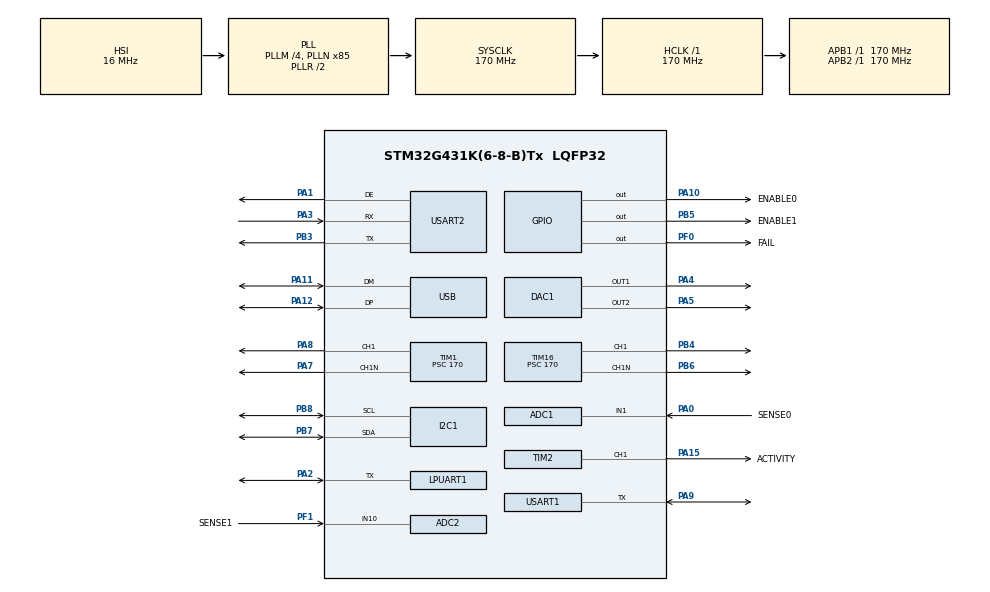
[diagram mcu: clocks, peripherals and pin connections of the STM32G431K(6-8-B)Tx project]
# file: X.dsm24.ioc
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ADC1.Channel-5\#ChannelRegularConversion=ADC_CHANNEL_1
ADC1.NbrOfConversionFlag=1
ADC1.OffsetNumber-5\#ChannelRegularConversion=ADC_OFFSET_NONE
ADC1.Rank-5\#ChannelRegularConversion=1
ADC1.SamplingTime-5\#ChannelRegularConversion=ADC_SAMPLETIME_2CYCLES_5
ADC1.master=1
ADC2.Channel-0\#ChannelRegularConversion=ADC_CHANNEL_10
ADC2.NbrOfConversionFlag=1
ADC2.OffsetNumber-0\#ChannelRegularConversion=ADC_OFFSET_NONE
ADC2.Rank-0\#ChannelRegularConversion=1
ADC2.SamplingTime-0\#ChannelRegularConversion=ADC_SAMPLETIME_2CYCLES_5
DAC1.DAC_Channel-DAC_OUT2=DAC_CHANNEL_2
Dma.Request0=TIM1_CH1
Dma.Request1=TIM16_CH1
Dma.TIM16_CH1.1.Direction=DMA_PERIPH_TO_MEMORY
Dma.TIM16_CH1.1.EventEnable=ENABLE
Dma.TIM16_CH1.1.Instance=DMA1_Channel2
Dma.TIM16_CH1.1.MemDataAlignment=DMA_MDATAALIGN_HALFWORD
Dma.TIM16_CH1.1.MemInc=DMA_MINC_ENABLE
Dma.TIM16_CH1.1.Mode=DMA_NORMAL
Dma.TIM16_CH1.1.PeriphDataAlignment=DMA_PDATAALIGN_HALFWORD
Dma.TIM16_CH1.1.PeriphInc=DMA_PINC_DISABLE
Dma.TIM16_CH1.1.Polarity=HAL_DMAMUX_REQ_GEN_RISING
Dma.TIM16_CH1.1.Priority=DMA_PRIORITY_LOW
Dma.TIM16_CH1.1.RequestNumber=1
Dma.TIM16_CH1.1.SignalID=NONE
Dma.TIM16_CH1.1.SyncEnable=DISABLE
Dma.TIM16_CH1.1.SyncPolarity=HAL_DMAMUX_SYNC_NO_EVENT
Dma.TIM16_CH1.1.SyncRequestNumber=1
Dma.TIM16_CH1.1.SyncSignalID=NONE
Dma.TIM1_CH1.0.Direction=DMA_MEMORY_TO_PERIPH
Dma.TIM1_CH1.0.EventEnable=ENABLE
Dma.TIM1_CH1.0.Instance=DMA1_Channel1
Dma.TIM1_CH1.0.MemDataAlignment=DMA_MDATAALIGN_HALFWORD
Dma.TIM1_CH1.0.MemInc=DMA_MINC_ENABLE
Dma.TIM1_CH1.0.Mode=DMA_NORMAL
Dma.TIM1_CH1.0.PeriphDataAlignment=DMA_PDATAALIGN_HALFWORD
Dma.TIM1_CH1.0.PeriphInc=DMA_PINC_DISABLE
Dma.TIM1_CH1.0.Polarity=HAL_DMAMUX_REQ_GEN_RISING
Dma.TIM1_CH1.0.Priority=DMA_PRIORITY_LOW
Dma.TIM1_CH1.0.RequestNumber=1
Dma.TIM1_CH1.0.SignalID=NONE
Dma.TIM1_CH1.0.SyncEnable=DISABLE
Dma.TIM1_CH1.0.SyncPolarity=HAL_DMAMUX_SYNC_NO_EVENT
Dma.TIM1_CH1.0.SyncRequestNumber=1
Dma.TIM1_CH1.0.SyncSignalID=NONE
LPUART1.BaudRate=115200
Mcu.Family=STM32G4
Mcu.Name=STM32G431K(6-8-B)Tx
Mcu.Package=LQFP32
NVIC.DMA1_Channel1_IRQn=true\:0\:0\:false\:false\:true\:false\:true
NVIC.DMA1_Channel2_IRQn=true\:0\:0\:false\:false\:true\:false\:true
NVIC.DMAMUX_OVR_IRQn=true\:0\:0\:false\:false\:true\:false\:true
NVIC.PriorityGroup=NVIC_PRIORITYGROUP_4
NVIC.TIM1_TRG_COM_TIM17_IRQn=true\:0\:0\:false\:false\:true\:true\:true
NVIC.TIM6_DAC_IRQn=true\:0\:0\:false\:false\:true\:true\:true
NVIC.TIM7_IRQn=true\:0\:0\:false\:false\:true\:true\:true
NVIC.USART1_IRQn=true\:0\:0\:false\:false\:true\:true\:true
NVIC.USB_LP_IRQn=true\:0\:0\:false\:false\:true\:false\:true
PA0.GPIO_Label=SENSE0
PA0.Mode=IN1-Single-Ended
PA0.Signal=ADC1_IN1
PA1.Mode=Hardware Flow Control (RS485)
PA1.Signal=USART2_DE
PA10.GPIO_Label=ENABLE0
PA10.Signal=GPIO_Output
PA11.Mode=Device
PA11.Signal=USB_DM
PA12.Mode=Device
PA12.Signal=USB_DP
PA13.Mode=Serial_Wire
PA13.Signal=SYS_JTMS-SWDIO
PA14.Mode=Serial_Wire
PA14.Signal=SYS_JTCK-SWCLK
PA15.GPIO_Label=ACTIVITY
PA15.Signal=S_TIM2_CH1
PA2.Mode=Half_duplex(single_wire_mode)
PA2.Signal=LPUART1_TX
PA3.Mode=Asynchronous
PA3.Signal=USART2_RX
PA4.Signal=COMP_DAC11_group
PA5.Signal=COMP_DAC12_group
PA7.Mode=PWM Generation1 CH1 CH1N
PA7.Signal=TIM1_CH1N
PA8.Signal=S_TIM1_CH1
PA9.Mode=Half_duplex(single_wire_mode)
PA9.Signal=USART1_TX
PB3.Mode=Asynchronous
PB3.Signal=USART2_TX
PB4.Signal=S_TIM16_CH1
PB5.GPIO_Label=ENABLE1
PB5.Signal=GPIO_Output
PB6.Mode=PWM Generation1 CH1 CH1N
PB6.Signal=TIM16_CH1N
PB7.Mode=I2C
PB7.Signal=I2C1_SDA
PB8-BOOT0.Mode=I2C
PB8-BOOT0.Signal=I2C1_SCL
PF0-OSC_IN.GPIO_Label=FAIL
PF0-OSC_IN.Signal=GPIO_Output
PF1-OSC_OUT.GPIO_Label=SENSE1
PF1-OSC_OUT.Mode=IN10-Single-Ended
PF1-OSC_OUT.Signal=ADC2_IN10
ProjectManager.HeapSize=0x200
ProjectManager.StackSize=0x400
ProjectManager.TargetToolchain=STM32CubeIDE
RCC.ADC12Freq_Value=170000000
RCC.AHBFreq_Value=170000000
RCC.APB1Freq_Value=170000000
RCC.APB1TimFreq_Value=170000000
RCC.APB2Freq_Value=170000000
RCC.APB2TimFreq_Value=170000000
RCC.CK48CLockSelection=RCC_USBCLKSOURCE_HSI48
RCC.CortexFreq_Value=170000000
RCC.EXTERNAL_CLOCK_VALUE=12288000
RCC.HCLKFreq_Value=170000000
RCC.HSE_VALUE=8000000
RCC.HSI48_VALUE=48000000
RCC.HSI_VALUE=16000000
RCC.I2C1CLockSelection=RCC_I2C1CLKSOURCE_HSI
RCC.LPUART1CLockSelection=RCC_LPUART1CLKSOURCE_HSI
RCC.LSE_VALUE=32768
RCC.PLLM=RCC_PLLM_DIV4
RCC.PLLN=85
RCC.SYSCLKFreq_VALUE=170000000
RCC.SYSCLKSource=RCC_SYSCLKSOURCE_PLLCLK
RCC.USART1CLockSelection=RCC_USART1CLKSOURCE_HSI
RCC.USART2CLockSelection=RCC_USART2CLKSOURCE_HSI
RCC.USBFreq_Value=48000000
RCC.VCOOutputFreq_Value=340000000
SH.COMP_DAC11_group.0=DAC1_OUT1,DAC_OUT1
SH.COMP_DAC12_group.0=DAC1_OUT2,DAC_OUT2
SH.S_TIM16_CH1.0=TIM16_CH1,PWM Generation1 CH1 CH1N
SH.S_TIM1_CH1.0=TIM1_CH1,PWM Generation1 CH1 CH1N
SH.S_TIM2_CH1.0=TIM2_CH1,PWM Generation1 CH1
TIM1.Channel-PWM\ Generation1\ CH1\ CH1N=TIM_CHANNEL_1
TIM1.PeriodNoDither=112
TIM1.Prescaler=170
TIM1.PulseNoDither_1=56
TIM16.Channel=TIM_CHANNEL_1
TIM16.PeriodNoDither=112
TIM16.Prescaler=170
TIM16.PulseNoDither_1=54
TIM17.PeriodNoDither=10000
TIM17.Prescaler=170
TIM2.Channel-PWM\ Generation1\ CH1=TIM_CHANNEL_1
TIM2.PeriodNoDither=1024
TIM2.Prescaler=170
TIM2.PulseNoDither_1=512
TIM6.PeriodNoDither=487
TIM6.Prescaler=170
TIM7.PeriodNoDither=487
TIM7.Prescaler=170
USART1.BaudRate=250000
USART1.VirtualMode-Half_duplex(single_wire_mode)=VM_ASYNC
USART2.VirtualMode-Asynchronous=VM_ASYNC
USART2.VirtualMode-Hardware\ Flow\ Control\ (RS485)=VM_ASYNC
USB_DEVICE.CLASS_NAME_FS=CDC
USB_DEVICE.VirtualMode=Cdc
USB_DEVICE.VirtualModeFS=Cdc_FS
VP_SYS_VS_DBSignals.Mode=DisableDeadBatterySignals
VP_TIM16_VS_ClockSourceINT.Mode=Enable_Timer
VP_TIM17_VS_ClockSourceINT.Mode=Enable_Timer
VP_TIM6_VS_ClockSourceINT.Mode=Enable_Timer
VP_TIM6_VS_OPM.Mode=OPM_bit
VP_TIM7_VS_ClockSourceINT.Mode=Enable_Timer
VP_TIM7_VS_OPM.Mode=OPM_bit
VP_USB_DEVICE_VS_USB_DEVICE_CDC_FS.Mode=CDC_FS
board=custom

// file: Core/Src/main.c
/* USER CODE BEGIN Header */
/**
  ******************************************************************************
  * @file           : main.c
  * @brief          : Main program body
  ******************************************************************************
  * @attention
  *
  * <h2><center>&copy; Copyright (c) 2020 STMicroelectronics.
  * All rights reserved.</center></h2>
  *
  * This software component is licensed by ST under BSD 3-Clause license,
  * the "License"; You may not use this file except in compliance with the
  * License. You may obtain a copy of the License at:
  *                        opensource.org/licenses/BSD-3-Clause
  *
  ******************************************************************************
  */
/* USER CODE END Header */
#include "main.h"
#include "usb_device.h"

/* USER CODE BEGIN Includes */
#include "DCC.h"

/* USER CODE END Includes */

ADC_HandleTypeDef hadc1;
ADC_HandleTypeDef hadc2;

DAC_HandleTypeDef hdac1;

I2C_HandleTypeDef hi2c1;

UART_HandleTypeDef hlpuart1;
UART_HandleTypeDef huart1;
UART_HandleTypeDef huart2;

TIM_HandleTypeDef htim1;
TIM_HandleTypeDef htim2;
TIM_HandleTypeDef htim6;
TIM_HandleTypeDef htim7;
TIM_HandleTypeDef htim16;
TIM_HandleTypeDef htim17;
DMA_HandleTypeDef hdma_tim1_ch1;
DMA_HandleTypeDef hdma_tim16_ch1;

void SystemClock_Config(void);
static void MX_GPIO_Init(void);
static void MX_DMA_Init(void);
static void MX_ADC1_Init(void);
static void MX_ADC2_Init(void);
static void MX_DAC1_Init(void);
static void MX_I2C1_Init(void);
static void MX_LPUART1_UART_Init(void);
static void MX_USART1_UART_Init(void);
static void MX_USART2_UART_Init(void);
static void MX_TIM1_Init(void);
static void MX_TIM2_Init(void);
static void MX_TIM16_Init(void);
static void MX_TIM7_Init(void);
static void MX_TIM6_Init(void);
static void MX_TIM17_Init(void);

/* USER CODE BEGIN 0 */
uint8_t	adc_channels = 0;

/* USER CODE END 0 */

int main(void)
{

  /* MCU Configuration--------------------------------------------------------*/

  /* Reset of all peripherals, Initializes the Flash interface and the Systick. */
  HAL_Init();

  /* Configure the system clock */
  SystemClock_Config();

  /* Initialize all configured peripherals */
  MX_GPIO_Init();
  MX_DMA_Init();
  MX_ADC1_Init();
  MX_ADC2_Init();
  MX_DAC1_Init();
  MX_I2C1_Init();
  MX_LPUART1_UART_Init();
  MX_USART1_UART_Init();
  MX_USART2_UART_Init();
  MX_TIM1_Init();
  MX_TIM2_Init();
  MX_TIM16_Init();
  MX_TIM7_Init();
  MX_USB_Device_Init();
  MX_TIM6_Init();
  MX_TIM17_Init();
  /* USER CODE BEGIN 2 */
	init_bufs();
	tracks.main_power = 0;
	/* start timers */
	packetEND_main_callback();
	packetEND_aux_callback();

	HAL_DAC_Start(&hdac1, DAC_CHANNEL_1);
	HAL_DAC_Start(&hdac1, DAC_CHANNEL_2);
	HAL_DAC_SetValue(&hdac1, DAC_CHANNEL_1, DAC_ALIGN_12B_R, DAC_BLANKS_RAILCOM);
	HAL_DAC_SetValue(&hdac1, DAC_CHANNEL_2, DAC_ALIGN_12B_R, DAC_BLANKS_RAILCOM);
	HAL_ADC_Start(&hadc1);
	HAL_ADC_Start(&hadc2);

  /* USER CODE END 2 */

  /* Infinite loop */
  /* USER CODE BEGIN WHILE */
	  while (1)
	  {
		  if ( flag10ms == 1 )
		  {
			  flag10ms = 0;
			  get_adc(adc_channels++);
		  }
		  if ( usb_check_rx_buffer() != 0 )
		  {
			  parser();
		  }
		  if ( railcom0_done == 1 )
		  {
			  railcom0_done = 0;
		  }
		  if ( railcom1_done == 1 )
		  {
			  railcom1_done = 0;
		  }
    /* USER CODE END WHILE */

  }
}

void SystemClock_Config(void)
{
  RCC_OscInitTypeDef RCC_OscInitStruct = {0};
  RCC_ClkInitTypeDef RCC_ClkInitStruct = {0};
  RCC_PeriphCLKInitTypeDef PeriphClkInit = {0};

  /** Configure the main internal regulator output voltage
  */
  HAL_PWREx_ControlVoltageScaling(PWR_REGULATOR_VOLTAGE_SCALE1_BOOST);
  /** Initializes the RCC Oscillators according to the specified parameters
  * in the RCC_OscInitTypeDef structure.
  */
  RCC_OscInitStruct.OscillatorType = RCC_OSCILLATORTYPE_HSI|RCC_OSCILLATORTYPE_HSI48;
  RCC_OscInitStruct.HSIState = RCC_HSI_ON;
  RCC_OscInitStruct.HSICalibrationValue = RCC_HSICALIBRATION_DEFAULT;
  RCC_OscInitStruct.HSI48State = RCC_HSI48_ON;
  RCC_OscInitStruct.PLL.PLLState = RCC_PLL_ON;
  RCC_OscInitStruct.PLL.PLLSource = RCC_PLLSOURCE_HSI;
  RCC_OscInitStruct.PLL.PLLM = RCC_PLLM_DIV4;
  RCC_OscInitStruct.PLL.PLLN = 85;
  RCC_OscInitStruct.PLL.PLLP = RCC_PLLP_DIV2;
  RCC_OscInitStruct.PLL.PLLQ = RCC_PLLQ_DIV2;
  RCC_OscInitStruct.PLL.PLLR = RCC_PLLR_DIV2;
  if (HAL_RCC_OscConfig(&RCC_OscInitStruct) != HAL_OK)
  {
    Error_Handler();
  }
  /** Initializes the CPU, AHB and APB buses clocks
  */
  RCC_ClkInitStruct.ClockType = RCC_CLOCKTYPE_HCLK|RCC_CLOCKTYPE_SYSCLK
                              |RCC_CLOCKTYPE_PCLK1|RCC_CLOCKTYPE_PCLK2;
  RCC_ClkInitStruct.SYSCLKSource = RCC_SYSCLKSOURCE_PLLCLK;
  RCC_ClkInitStruct.AHBCLKDivider = RCC_SYSCLK_DIV1;
  RCC_ClkInitStruct.APB1CLKDivider = RCC_HCLK_DIV1;
  RCC_ClkInitStruct.APB2CLKDivider = RCC_HCLK_DIV1;

  if (HAL_RCC_ClockConfig(&RCC_ClkInitStruct, FLASH_LATENCY_4) != HAL_OK)
  {
    Error_Handler();
  }
  /** Initializes the peripherals clocks
  */
  PeriphClkInit.PeriphClockSelection = RCC_PERIPHCLK_USART1|RCC_PERIPHCLK_USART2
                              |RCC_PERIPHCLK_LPUART1|RCC_PERIPHCLK_I2C1
                              |RCC_PERIPHCLK_USB|RCC_PERIPHCLK_ADC12;
  PeriphClkInit.Usart1ClockSelection = RCC_USART1CLKSOURCE_HSI;
  PeriphClkInit.Usart2ClockSelection = RCC_USART2CLKSOURCE_HSI;
  PeriphClkInit.Lpuart1ClockSelection = RCC_LPUART1CLKSOURCE_HSI;
  PeriphClkInit.I2c1ClockSelection = RCC_I2C1CLKSOURCE_HSI;
  PeriphClkInit.UsbClockSelection = RCC_USBCLKSOURCE_HSI48;
  PeriphClkInit.Adc12ClockSelection = RCC_ADC12CLKSOURCE_SYSCLK;
  if (HAL_RCCEx_PeriphCLKConfig(&PeriphClkInit) != HAL_OK)
  {
    Error_Handler();
  }
}

static void MX_ADC1_Init(void)
{

  ADC_MultiModeTypeDef multimode = {0};
  ADC_ChannelConfTypeDef sConfig = {0};

  /** Common config
  */
  hadc1.Instance = ADC1;
  hadc1.Init.ClockPrescaler = ADC_CLOCK_SYNC_PCLK_DIV4;
  hadc1.Init.Resolution = ADC_RESOLUTION_12B;
  hadc1.Init.DataAlign = ADC_DATAALIGN_RIGHT;
  hadc1.Init.GainCompensation = 0;
  hadc1.Init.ScanConvMode = ADC_SCAN_DISABLE;
  hadc1.Init.EOCSelection = ADC_EOC_SINGLE_CONV;
  hadc1.Init.LowPowerAutoWait = DISABLE;
  hadc1.Init.ContinuousConvMode = DISABLE;
  hadc1.Init.NbrOfConversion = 1;
  hadc1.Init.DiscontinuousConvMode = DISABLE;
  hadc1.Init.ExternalTrigConv = ADC_SOFTWARE_START;
  hadc1.Init.ExternalTrigConvEdge = ADC_EXTERNALTRIGCONVEDGE_NONE;
  hadc1.Init.DMAContinuousRequests = DISABLE;
  hadc1.Init.Overrun = ADC_OVR_DATA_PRESERVED;
  hadc1.Init.OversamplingMode = DISABLE;
  if (HAL_ADC_Init(&hadc1) != HAL_OK)
  {
    Error_Handler();
  }
  /** Configure the ADC multi-mode
  */
  multimode.Mode = ADC_MODE_INDEPENDENT;
  if (HAL_ADCEx_MultiModeConfigChannel(&hadc1, &multimode) != HAL_OK)
  {
    Error_Handler();
  }
  /** Configure Regular Channel
  */
  sConfig.Channel = ADC_CHANNEL_1;
  sConfig.Rank = ADC_REGULAR_RANK_1;
  sConfig.SamplingTime = ADC_SAMPLETIME_2CYCLES_5;
  sConfig.SingleDiff = ADC_SINGLE_ENDED;
  sConfig.OffsetNumber = ADC_OFFSET_NONE;
  sConfig.Offset = 0;
  if (HAL_ADC_ConfigChannel(&hadc1, &sConfig) != HAL_OK)
  {
    Error_Handler();
  }

}

static void MX_ADC2_Init(void)
{

  ADC_ChannelConfTypeDef sConfig = {0};

  /** Common config
  */
  hadc2.Instance = ADC2;
  hadc2.Init.ClockPrescaler = ADC_CLOCK_SYNC_PCLK_DIV4;
  hadc2.Init.Resolution = ADC_RESOLUTION_12B;
  hadc2.Init.DataAlign = ADC_DATAALIGN_RIGHT;
  hadc2.Init.GainCompensation = 0;
  hadc2.Init.ScanConvMode = ADC_SCAN_DISABLE;
  hadc2.Init.EOCSelection = ADC_EOC_SINGLE_CONV;
  hadc2.Init.LowPowerAutoWait = DISABLE;
  hadc2.Init.ContinuousConvMode = DISABLE;
  hadc2.Init.NbrOfConversion = 1;
  hadc2.Init.DiscontinuousConvMode = DISABLE;
  hadc2.Init.ExternalTrigConv = ADC_SOFTWARE_START;
  hadc2.Init.ExternalTrigConvEdge = ADC_EXTERNALTRIGCONVEDGE_NONE;
  hadc2.Init.DMAContinuousRequests = DISABLE;
  hadc2.Init.Overrun = ADC_OVR_DATA_PRESERVED;
  hadc2.Init.OversamplingMode = DISABLE;
  if (HAL_ADC_Init(&hadc2) != HAL_OK)
  {
    Error_Handler();
  }
  /** Configure Regular Channel
  */
  sConfig.Channel = ADC_CHANNEL_10;
  sConfig.Rank = ADC_REGULAR_RANK_1;
  sConfig.SamplingTime = ADC_SAMPLETIME_2CYCLES_5;
  sConfig.SingleDiff = ADC_SINGLE_ENDED;
  sConfig.OffsetNumber = ADC_OFFSET_NONE;
  sConfig.Offset = 0;
  if (HAL_ADC_ConfigChannel(&hadc2, &sConfig) != HAL_OK)
  {
    Error_Handler();
  }

}

static void MX_DAC1_Init(void)
{

  DAC_ChannelConfTypeDef sConfig = {0};

  /** DAC Initialization
  */
  hdac1.Instance = DAC1;
  if (HAL_DAC_Init(&hdac1) != HAL_OK)
  {
    Error_Handler();
  }
  /** DAC channel OUT1 config
  */
  sConfig.DAC_HighFrequency = DAC_HIGH_FREQUENCY_INTERFACE_MODE_AUTOMATIC;
  sConfig.DAC_DMADoubleDataMode = DISABLE;
  sConfig.DAC_SignedFormat = DISABLE;
  sConfig.DAC_SampleAndHold = DAC_SAMPLEANDHOLD_DISABLE;
  sConfig.DAC_Trigger = DAC_TRIGGER_NONE;
  sConfig.DAC_Trigger2 = DAC_TRIGGER_NONE;
  sConfig.DAC_OutputBuffer = DAC_OUTPUTBUFFER_ENABLE;
  sConfig.DAC_ConnectOnChipPeripheral = DAC_CHIPCONNECT_EXTERNAL;
  sConfig.DAC_UserTrimming = DAC_TRIMMING_FACTORY;
  if (HAL_DAC_ConfigChannel(&hdac1, &sConfig, DAC_CHANNEL_1) != HAL_OK)
  {
    Error_Handler();
  }
  /** DAC channel OUT2 config
  */
  sConfig.DAC_ConnectOnChipPeripheral = DAC_CHIPCONNECT_EXTERNAL;
  if (HAL_DAC_ConfigChannel(&hdac1, &sConfig, DAC_CHANNEL_2) != HAL_OK)
  {
    Error_Handler();
  }

}

static void MX_I2C1_Init(void)
{

  hi2c1.Instance = I2C1;
  hi2c1.Init.Timing = 0x00303D5B;
  hi2c1.Init.OwnAddress1 = 0;
  hi2c1.Init.AddressingMode = I2C_ADDRESSINGMODE_7BIT;
  hi2c1.Init.DualAddressMode = I2C_DUALADDRESS_DISABLE;
  hi2c1.Init.OwnAddress2 = 0;
  hi2c1.Init.OwnAddress2Masks = I2C_OA2_NOMASK;
  hi2c1.Init.GeneralCallMode = I2C_GENERALCALL_DISABLE;
  hi2c1.Init.NoStretchMode = I2C_NOSTRETCH_DISABLE;
  if (HAL_I2C_Init(&hi2c1) != HAL_OK)
  {
    Error_Handler();
  }
  /** Configure Analogue filter
  */
  if (HAL_I2CEx_ConfigAnalogFilter(&hi2c1, I2C_ANALOGFILTER_ENABLE) != HAL_OK)
  {
    Error_Handler();
  }
  /** Configure Digital filter
  */
  if (HAL_I2CEx_ConfigDigitalFilter(&hi2c1, 0) != HAL_OK)
  {
    Error_Handler();
  }

}

static void MX_LPUART1_UART_Init(void)
{

  hlpuart1.Instance = LPUART1;
  hlpuart1.Init.BaudRate = 115200;
  hlpuart1.Init.WordLength = UART_WORDLENGTH_8B;
  hlpuart1.Init.StopBits = UART_STOPBITS_1;
  hlpuart1.Init.Parity = UART_PARITY_NONE;
  hlpuart1.Init.Mode = UART_MODE_TX_RX;
  hlpuart1.Init.HwFlowCtl = UART_HWCONTROL_NONE;
  hlpuart1.Init.OneBitSampling = UART_ONE_BIT_SAMPLE_DISABLE;
  hlpuart1.AdvancedInit.AdvFeatureInit = UART_ADVFEATURE_NO_INIT;
  if (HAL_HalfDuplex_Init(&hlpuart1) != HAL_OK)
  {
    Error_Handler();
  }
  if (HAL_UARTEx_SetTxFifoThreshold(&hlpuart1, UART_TXFIFO_THRESHOLD_1_8) != HAL_OK)
  {
    Error_Handler();
  }
  if (HAL_UARTEx_SetRxFifoThreshold(&hlpuart1, UART_RXFIFO_THRESHOLD_1_8) != HAL_OK)
  {
    Error_Handler();
  }
  if (HAL_UARTEx_DisableFifoMode(&hlpuart1) != HAL_OK)
  {
    Error_Handler();
  }

}

static void MX_USART1_UART_Init(void)
{

  huart1.Instance = USART1;
  huart1.Init.BaudRate = 250000;
  huart1.Init.WordLength = UART_WORDLENGTH_8B;
  huart1.Init.StopBits = UART_STOPBITS_1;
  huart1.Init.Parity = UART_PARITY_NONE;
  huart1.Init.Mode = UART_MODE_TX_RX;
  huart1.Init.HwFlowCtl = UART_HWCONTROL_NONE;
  huart1.Init.OverSampling = UART_OVERSAMPLING_16;
  huart1.Init.OneBitSampling = UART_ONE_BIT_SAMPLE_DISABLE;
  huart1.Init.ClockPrescaler = UART_PRESCALER_DIV1;
  huart1.AdvancedInit.AdvFeatureInit = UART_ADVFEATURE_NO_INIT;
  if (HAL_HalfDuplex_Init(&huart1) != HAL_OK)
  {
    Error_Handler();
  }
  if (HAL_UARTEx_SetTxFifoThreshold(&huart1, UART_TXFIFO_THRESHOLD_1_8) != HAL_OK)
  {
    Error_Handler();
  }
  if (HAL_UARTEx_SetRxFifoThreshold(&huart1, UART_RXFIFO_THRESHOLD_1_8) != HAL_OK)
  {
    Error_Handler();
  }
  if (HAL_UARTEx_DisableFifoMode(&huart1) != HAL_OK)
  {
    Error_Handler();
  }

}

static void MX_USART2_UART_Init(void)
{

  huart2.Instance = USART2;
  huart2.Init.BaudRate = 115200;
  huart2.Init.WordLength = UART_WORDLENGTH_8B;
  huart2.Init.StopBits = UART_STOPBITS_1;
  huart2.Init.Parity = UART_PARITY_NONE;
  huart2.Init.Mode = UART_MODE_TX_RX;
  huart2.Init.HwFlowCtl = UART_HWCONTROL_NONE;
  huart2.Init.OverSampling = UART_OVERSAMPLING_16;
  huart2.Init.OneBitSampling = UART_ONE_BIT_SAMPLE_DISABLE;
  huart2.Init.ClockPrescaler = UART_PRESCALER_DIV1;
  huart2.AdvancedInit.AdvFeatureInit = UART_ADVFEATURE_NO_INIT;
  if (HAL_RS485Ex_Init(&huart2, UART_DE_POLARITY_HIGH, 0, 0) != HAL_OK)
  {
    Error_Handler();
  }
  if (HAL_UARTEx_SetTxFifoThreshold(&huart2, UART_TXFIFO_THRESHOLD_1_8) != HAL_OK)
  {
    Error_Handler();
  }
  if (HAL_UARTEx_SetRxFifoThreshold(&huart2, UART_RXFIFO_THRESHOLD_1_8) != HAL_OK)
  {
    Error_Handler();
  }
  if (HAL_UARTEx_DisableFifoMode(&huart2) != HAL_OK)
  {
    Error_Handler();
  }

}

static void MX_TIM1_Init(void)
{

  TIM_MasterConfigTypeDef sMasterConfig = {0};
  TIM_OC_InitTypeDef sConfigOC = {0};
  TIM_BreakDeadTimeConfigTypeDef sBreakDeadTimeConfig = {0};

  htim1.Instance = TIM1;
  htim1.Init.Prescaler = 170;
  htim1.Init.CounterMode = TIM_COUNTERMODE_UP;
  htim1.Init.Period = 112;
  htim1.Init.ClockDivision = TIM_CLOCKDIVISION_DIV1;
  htim1.Init.RepetitionCounter = 0;
  htim1.Init.AutoReloadPreload = TIM_AUTORELOAD_PRELOAD_DISABLE;
  if (HAL_TIM_PWM_Init(&htim1) != HAL_OK)
  {
    Error_Handler();
  }
  sMasterConfig.MasterOutputTrigger = TIM_TRGO_RESET;
  sMasterConfig.MasterOutputTrigger2 = TIM_TRGO2_RESET;
  sMasterConfig.MasterSlaveMode = TIM_MASTERSLAVEMODE_DISABLE;
  if (HAL_TIMEx_MasterConfigSynchronization(&htim1, &sMasterConfig) != HAL_OK)
  {
    Error_Handler();
  }
  sConfigOC.OCMode = TIM_OCMODE_PWM1;
  sConfigOC.Pulse = 56;
  sConfigOC.OCPolarity = TIM_OCPOLARITY_HIGH;
  sConfigOC.OCNPolarity = TIM_OCNPOLARITY_HIGH;
  sConfigOC.OCFastMode = TIM_OCFAST_DISABLE;
  sConfigOC.OCIdleState = TIM_OCIDLESTATE_RESET;
  sConfigOC.OCNIdleState = TIM_OCNIDLESTATE_RESET;
  if (HAL_TIM_PWM_ConfigChannel(&htim1, &sConfigOC, TIM_CHANNEL_1) != HAL_OK)
  {
    Error_Handler();
  }
  sBreakDeadTimeConfig.OffStateRunMode = TIM_OSSR_DISABLE;
  sBreakDeadTimeConfig.OffStateIDLEMode = TIM_OSSI_DISABLE;
  sBreakDeadTimeConfig.LockLevel = TIM_LOCKLEVEL_OFF;
  sBreakDeadTimeConfig.DeadTime = 0;
  sBreakDeadTimeConfig.BreakState = TIM_BREAK_DISABLE;
  sBreakDeadTimeConfig.BreakPolarity = TIM_BREAKPOLARITY_HIGH;
  sBreakDeadTimeConfig.BreakFilter = 0;
  sBreakDeadTimeConfig.BreakAFMode = TIM_BREAK_AFMODE_INPUT;
  sBreakDeadTimeConfig.Break2State = TIM_BREAK2_DISABLE;
  sBreakDeadTimeConfig.Break2Polarity = TIM_BREAK2POLARITY_HIGH;
  sBreakDeadTimeConfig.Break2Filter = 0;
  sBreakDeadTimeConfig.Break2AFMode = TIM_BREAK_AFMODE_INPUT;
  sBreakDeadTimeConfig.AutomaticOutput = TIM_AUTOMATICOUTPUT_DISABLE;
  if (HAL_TIMEx_ConfigBreakDeadTime(&htim1, &sBreakDeadTimeConfig) != HAL_OK)
  {
    Error_Handler();
  }
  HAL_TIM_MspPostInit(&htim1);

}

static void MX_TIM2_Init(void)
{

  TIM_MasterConfigTypeDef sMasterConfig = {0};
  TIM_OC_InitTypeDef sConfigOC = {0};

  htim2.Instance = TIM2;
  htim2.Init.Prescaler = 170;
  htim2.Init.CounterMode = TIM_COUNTERMODE_UP;
  htim2.Init.Period = 1024;
  htim2.Init.ClockDivision = TIM_CLOCKDIVISION_DIV1;
  htim2.Init.AutoReloadPreload = TIM_AUTORELOAD_PRELOAD_DISABLE;
  if (HAL_TIM_PWM_Init(&htim2) != HAL_OK)
  {
    Error_Handler();
  }
  sMasterConfig.MasterOutputTrigger = TIM_TRGO_RESET;
  sMasterConfig.MasterSlaveMode = TIM_MASTERSLAVEMODE_DISABLE;
  if (HAL_TIMEx_MasterConfigSynchronization(&htim2, &sMasterConfig) != HAL_OK)
  {
    Error_Handler();
  }
  sConfigOC.OCMode = TIM_OCMODE_PWM1;
  sConfigOC.Pulse = 512;
  sConfigOC.OCPolarity = TIM_OCPOLARITY_HIGH;
  sConfigOC.OCFastMode = TIM_OCFAST_DISABLE;
  if (HAL_TIM_PWM_ConfigChannel(&htim2, &sConfigOC, TIM_CHANNEL_1) != HAL_OK)
  {
    Error_Handler();
  }
  HAL_TIM_MspPostInit(&htim2);

}

static void MX_TIM6_Init(void)
{

  TIM_MasterConfigTypeDef sMasterConfig = {0};

  htim6.Instance = TIM6;
  htim6.Init.Prescaler = 170;
  htim6.Init.CounterMode = TIM_COUNTERMODE_UP;
  htim6.Init.Period = 487;
  htim6.Init.AutoReloadPreload = TIM_AUTORELOAD_PRELOAD_DISABLE;
  if (HAL_TIM_Base_Init(&htim6) != HAL_OK)
  {
    Error_Handler();
  }
  if (HAL_TIM_OnePulse_Init(&htim6, TIM_OPMODE_SINGLE) != HAL_OK)
  {
    Error_Handler();
  }
  sMasterConfig.MasterOutputTrigger = TIM_TRGO_RESET;
  sMasterConfig.MasterSlaveMode = TIM_MASTERSLAVEMODE_DISABLE;
  if (HAL_TIMEx_MasterConfigSynchronization(&htim6, &sMasterConfig) != HAL_OK)
  {
    Error_Handler();
  }

}

static void MX_TIM7_Init(void)
{

  TIM_MasterConfigTypeDef sMasterConfig = {0};

  htim7.Instance = TIM7;
  htim7.Init.Prescaler = 170;
  htim7.Init.CounterMode = TIM_COUNTERMODE_UP;
  htim7.Init.Period = 487;
  htim7.Init.AutoReloadPreload = TIM_AUTORELOAD_PRELOAD_DISABLE;
  if (HAL_TIM_Base_Init(&htim7) != HAL_OK)
  {
    Error_Handler();
  }
  if (HAL_TIM_OnePulse_Init(&htim7, TIM_OPMODE_SINGLE) != HAL_OK)
  {
    Error_Handler();
  }
  sMasterConfig.MasterOutputTrigger = TIM_TRGO_RESET;
  sMasterConfig.MasterSlaveMode = TIM_MASTERSLAVEMODE_DISABLE;
  if (HAL_TIMEx_MasterConfigSynchronization(&htim7, &sMasterConfig) != HAL_OK)
  {
    Error_Handler();
  }

}

static void MX_TIM16_Init(void)
{

  TIM_OC_InitTypeDef sConfigOC = {0};
  TIM_BreakDeadTimeConfigTypeDef sBreakDeadTimeConfig = {0};

  htim16.Instance = TIM16;
  htim16.Init.Prescaler = 170;
  htim16.Init.CounterMode = TIM_COUNTERMODE_UP;
  htim16.Init.Period = 112;
  htim16.Init.ClockDivision = TIM_CLOCKDIVISION_DIV1;
  htim16.Init.RepetitionCounter = 0;
  htim16.Init.AutoReloadPreload = TIM_AUTORELOAD_PRELOAD_DISABLE;
  if (HAL_TIM_Base_Init(&htim16) != HAL_OK)
  {
    Error_Handler();
  }
  if (HAL_TIM_PWM_Init(&htim16) != HAL_OK)
  {
    Error_Handler();
  }
  sConfigOC.OCMode = TIM_OCMODE_PWM1;
  sConfigOC.Pulse = 54;
  sConfigOC.OCPolarity = TIM_OCPOLARITY_HIGH;
  sConfigOC.OCNPolarity = TIM_OCNPOLARITY_HIGH;
  sConfigOC.OCFastMode = TIM_OCFAST_DISABLE;
  sConfigOC.OCIdleState = TIM_OCIDLESTATE_RESET;
  sConfigOC.OCNIdleState = TIM_OCNIDLESTATE_RESET;
  if (HAL_TIM_PWM_ConfigChannel(&htim16, &sConfigOC, TIM_CHANNEL_1) != HAL_OK)
  {
    Error_Handler();
  }
  sBreakDeadTimeConfig.OffStateRunMode = TIM_OSSR_DISABLE;
  sBreakDeadTimeConfig.OffStateIDLEMode = TIM_OSSI_DISABLE;
  sBreakDeadTimeConfig.LockLevel = TIM_LOCKLEVEL_OFF;
  sBreakDeadTimeConfig.DeadTime = 0;
  sBreakDeadTimeConfig.BreakState = TIM_BREAK_DISABLE;
  sBreakDeadTimeConfig.BreakPolarity = TIM_BREAKPOLARITY_HIGH;
  sBreakDeadTimeConfig.BreakFilter = 0;
  sBreakDeadTimeConfig.AutomaticOutput = TIM_AUTOMATICOUTPUT_DISABLE;
  if (HAL_TIMEx_ConfigBreakDeadTime(&htim16, &sBreakDeadTimeConfig) != HAL_OK)
  {
    Error_Handler();
  }
  HAL_TIM_MspPostInit(&htim16);

}

static void MX_TIM17_Init(void)
{

  htim17.Instance = TIM17;
  htim17.Init.Prescaler = 170;
  htim17.Init.CounterMode = TIM_COUNTERMODE_UP;
  htim17.Init.Period = 10000;
  htim17.Init.ClockDivision = TIM_CLOCKDIVISION_DIV1;
  htim17.Init.RepetitionCounter = 0;
  htim17.Init.AutoReloadPreload = TIM_AUTORELOAD_PRELOAD_DISABLE;
  if (HAL_TIM_Base_Init(&htim17) != HAL_OK)
  {
    Error_Handler();
  }

}

static void MX_DMA_Init(void)
{

  /* DMA controller clock enable */
  __HAL_RCC_DMAMUX1_CLK_ENABLE();
  __HAL_RCC_DMA1_CLK_ENABLE();

  /* DMA interrupt init */
  /* DMA1_Channel1_IRQn interrupt configuration */
  HAL_NVIC_SetPriority(DMA1_Channel1_IRQn, 0, 0);
  HAL_NVIC_EnableIRQ(DMA1_Channel1_IRQn);
  /* DMA1_Channel2_IRQn interrupt configuration */
  HAL_NVIC_SetPriority(DMA1_Channel2_IRQn, 0, 0);
  HAL_NVIC_EnableIRQ(DMA1_Channel2_IRQn);
  /* DMAMUX_OVR_IRQn interrupt configuration */
  HAL_NVIC_SetPriority(DMAMUX_OVR_IRQn, 0, 0);
  HAL_NVIC_EnableIRQ(DMAMUX_OVR_IRQn);

}

static void MX_GPIO_Init(void)
{
  GPIO_InitTypeDef GPIO_InitStruct = {0};

  /* GPIO Ports Clock Enable */
  __HAL_RCC_GPIOF_CLK_ENABLE();
  __HAL_RCC_GPIOA_CLK_ENABLE();
  __HAL_RCC_GPIOB_CLK_ENABLE();

  /*Configure GPIO pin Output Level */
  HAL_GPIO_WritePin(FAIL_GPIO_Port, FAIL_Pin, GPIO_PIN_RESET);

  /*Configure GPIO pin Output Level */
  HAL_GPIO_WritePin(ENABLE0_GPIO_Port, ENABLE0_Pin, GPIO_PIN_RESET);

  /*Configure GPIO pin Output Level */
  HAL_GPIO_WritePin(ENABLE1_GPIO_Port, ENABLE1_Pin, GPIO_PIN_RESET);

  /*Configure GPIO pin : FAIL_Pin */
  GPIO_InitStruct.Pin = FAIL_Pin;
  GPIO_InitStruct.Mode = GPIO_MODE_OUTPUT_PP;
  GPIO_InitStruct.Pull = GPIO_NOPULL;
  GPIO_InitStruct.Speed = GPIO_SPEED_FREQ_LOW;
  HAL_GPIO_Init(FAIL_GPIO_Port, &GPIO_InitStruct);

  /*Configure GPIO pin : ENABLE0_Pin */
  GPIO_InitStruct.Pin = ENABLE0_Pin;
  GPIO_InitStruct.Mode = GPIO_MODE_OUTPUT_PP;
  GPIO_InitStruct.Pull = GPIO_NOPULL;
  GPIO_InitStruct.Speed = GPIO_SPEED_FREQ_LOW;
  HAL_GPIO_Init(ENABLE0_GPIO_Port, &GPIO_InitStruct);

  /*Configure GPIO pin : ENABLE1_Pin */
  GPIO_InitStruct.Pin = ENABLE1_Pin;
  GPIO_InitStruct.Mode = GPIO_MODE_OUTPUT_PP;
  GPIO_InitStruct.Pull = GPIO_NOPULL;
  GPIO_InitStruct.Speed = GPIO_SPEED_FREQ_LOW;
  HAL_GPIO_Init(ENABLE1_GPIO_Port, &GPIO_InitStruct);

}

void Error_Handler(void)
{
}

/************************ (C) COPYRIGHT STMicroelectronics *****END OF FILE****/
